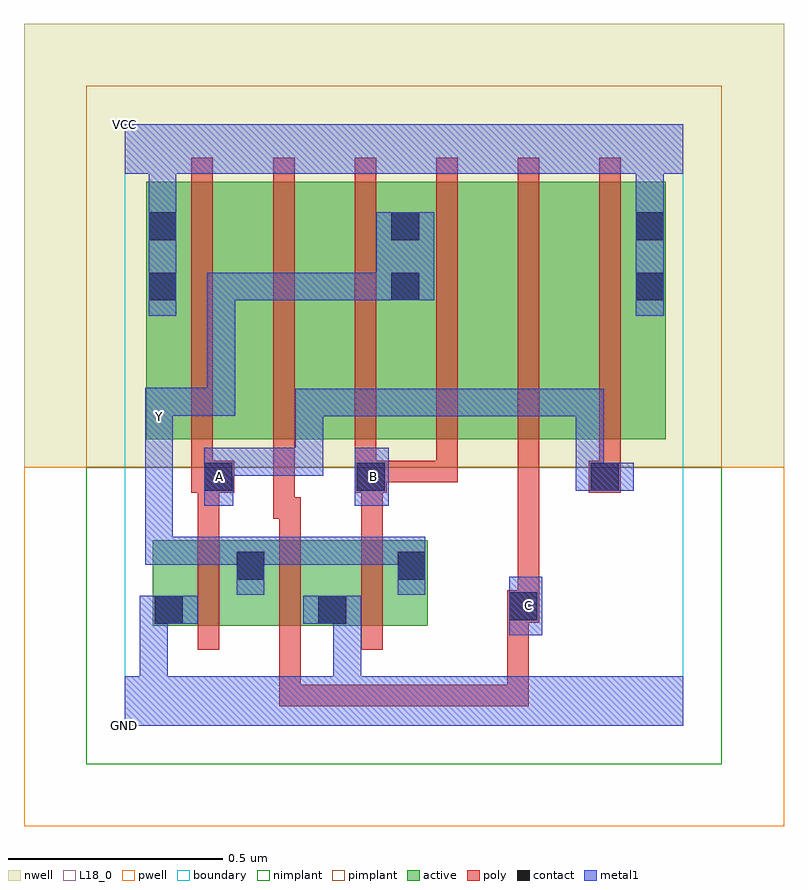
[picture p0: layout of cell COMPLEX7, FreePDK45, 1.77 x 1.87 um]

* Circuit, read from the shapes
.subckt COMPLEX7 A B C GND VCC Y
M1 Y A GND VSUBS nfet w=0.2u l=0.05u
M2 GND C Y VSUBS nfet w=0.2u l=0.05u
M3 Y B GND VSUBS nfet w=0.2u l=0.05u
M4 n1 A VCC n2 pfet w=0.6u l=0.05u
M5 n3 C n1 n2 pfet w=0.6u l=0.05u
M6 Y B n3 n2 pfet w=0.6u l=0.05u
M7 n4 B Y n2 pfet w=0.6u l=0.05u
M8 n5 C n4 n2 pfet w=0.6u l=0.05u
M9 VCC A n5 n2 pfet w=0.6u l=0.05u
.ends

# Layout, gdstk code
import gdstk
lib = gdstk.Library(unit=1e-6, precision=1e-09)
def R(c, l, rs):  # rectangles x0, y0, x1, y1
    for r in rs: c.add(gdstk.rectangle(r[:2], r[2:], *l))
def A(c, l, x, y, w, h, nx, ny, dx, dy):  # array of equal rectangles
    R(c, l, [(x+i*dx, y+j*dy, x+i*dx+w, y+j*dy+h) for i in range(nx) for j in range(ny)])
active = (1, 0)
pwell = (2, 0)
nwell = (3, 0)
nimplant = (4, 0)
pimplant = (5, 0)
poly = (9, 0)
contact = (10, 0)
metal1 = (11, 0)
L18_0 = (18, 0)
boundary = (235, 0)

complex7 = lib.new_cell('COMPLEX7')
R(complex7, active, [(0.065,0.232,0.33,0.432), (0.065,0.232,0.14,0.432), (0.255,0.232,0.52,0.432), (0.255,0.232,0.33,0.41), (0.445,0.232,0.705,0.432), (0.445,0.232,0.52,0.397), (0.63,0.332,0.705,0.432), (0.05,0.667,0.125,1.267), (0.05,0.667,0.275,1.267), (0.275,0.667,0.465,1.267), (0.465,0.667,0.69,1.267), (0.615,0.667,0.845,1.267), (0.845,0.667,1.035,1.267), (1.035,0.667,1.26,1.267), (1.185,0.667,1.26,1.267), (0.615,0.707,0.69,1.2)])
R(complex7, pwell, [(-0.235,-0.235,1.535,0.602)])
R(complex7, nwell, [(-0.235,0.602,1.535,1.635)])
R(complex7, nimplant, [(-0.09,-0.09,1.39,0.602)])
R(complex7, pimplant, [(-0.09,0.602,1.39,1.49)])
A(complex7, poly, 0.17, 0.177, 0.05, 0.31, 3, 1, 0.19, 0)
A(complex7, poly, 0.155, 0.612, 0.05, 0.71, 6, 1, 0.19, 0)
R(complex7, poly, [(0.36,0.045,0.41,0.095), (0.36,0.045,0.477,0.095), (0.36,0.045,0.41,0.227), (0.427,0.045,0.477,0.095), (0.427,0.045,0.61,0.095), (0.56,0.045,0.61,0.095), (0.56,0.045,0.61,0.095), (0.56,0.045,0.61,0.095), (0.56,0.045,0.742,0.095), (0.692,0.045,0.742,0.095), (0.692,0.045,0.94,0.095), (0.89,0.045,0.94,0.095), (0.89,0.045,0.94,0.095), (0.89,0.045,0.94,0.095), (0.89,0.045,0.94,0.095), (0.89,0.045,0.94,0.095), (0.89,0.045,0.94,0.29), (0.89,0.24,0.965,0.315), (0.89,0.24,0.94,0.29), (0.89,0.24,0.94,0.29), (0.915,0.265,0.965,0.662), (0.17,0.437,0.22,0.592), (0.36,0.437,0.41,0.532), (0.55,0.437,0.6,0.592), (0.345,0.482,0.395,0.662), (0.345,0.482,0.41,0.532), (0.155,0.542,0.255,0.617), (0.535,0.542,0.61,0.617), (1.08,0.542,1.155,0.617), (0.155,0.567,0.205,0.662), (0.535,0.567,0.585,0.662), (0.56,0.567,0.61,0.617), (0.56,0.567,0.61,0.617), (0.56,0.567,0.775,0.617), (0.725,0.567,0.775,0.662), (0.725,0.567,0.775,0.617), (1.105,0.567,1.155,0.662)])
R(complex7, contact, [(0.07,0.237,0.135,0.302), (0.45,0.237,0.515,0.302), (0.895,0.245,0.96,0.31), (0.26,0.34,0.325,0.405), (0.635,0.34,0.7,0.405), (0.185,0.547,0.25,0.612), (0.54,0.547,0.605,0.612), (1.085,0.547,1.15,0.612), (0.055,0.99,0.12,1.055), (0.62,0.99,0.685,1.055), (1.19,0.99,1.255,1.055), (0.055,1.13,0.12,1.195), (0.62,1.13,0.685,1.195), (1.19,1.13,1.255,1.195)])
R(complex7, metal1, [(0,0,1.3,0.115), (0.035,0.05,0.1,0.115), (0.035,0.05,0.1,0.115), (0.035,0.05,0.1,0.302), (0.485,0.05,0.55,0.115), (0.485,0.05,0.55,0.115), (0.485,0.05,0.55,0.115), (0.485,0.05,0.55,0.115), (0.485,0.05,0.55,0.302), (0.895,0.21,0.972,0.347), (0.035,0.237,0.1,0.302), (0.035,0.237,0.1,0.302), (0.035,0.237,0.17,0.302), (0.415,0.237,0.55,0.302), (0.26,0.305,0.325,0.44), (0.635,0.305,0.7,0.44), (0.047,0.375,0.112,0.44), (0.047,0.375,0.112,0.44), (0.047,0.375,0.112,0.44), (0.047,0.375,0.325,0.44), (0.047,0.375,0.112,0.717), (0.26,0.375,0.462,0.44), (0.397,0.375,0.462,0.44), (0.397,0.375,0.462,0.44), (0.397,0.375,0.462,0.44), (0.397,0.375,0.687,0.44), (0.622,0.375,0.7,0.44), (0.635,0.375,0.7,0.44), (0.185,0.512,0.252,0.647), (0.535,0.512,0.615,0.647), (1.05,0.547,1.115,0.612), (1.05,0.547,1.115,0.612), (1.05,0.547,1.185,0.612), (1.05,0.547,1.115,0.785), (0.187,0.582,0.252,0.647), (0.187,0.582,0.252,0.647), (0.187,0.582,0.462,0.647), (0.397,0.582,0.462,0.647), (0.397,0.582,0.462,0.647), (0.397,0.582,0.462,0.647), (0.397,0.582,0.462,0.785), (0.047,0.652,0.112,0.787), (0.397,0.72,0.462,0.785), (0.397,0.72,0.685,0.785), (0.62,0.72,0.685,0.785), (0.62,0.72,0.742,0.785), (0.677,0.72,0.742,0.785), (0.677,0.72,0.83,0.785), (0.765,0.72,0.83,0.785), (0.765,0.72,0.96,0.785), (0.895,0.72,0.96,0.785), (0.895,0.72,0.96,0.785), (0.895,0.72,0.96,0.785), (0.895,0.72,1.115,0.785), (1.05,0.72,1.115,0.785), (0.047,0.722,0.112,0.787), (0.047,0.722,0.112,0.787), (0.047,0.722,0.155,0.787), (0.09,0.722,0.155,0.787), (0.09,0.722,0.257,0.787), (0.192,0.722,0.257,0.787), (0.192,0.722,0.257,1.055), (0.055,0.955,0.12,1.23), (1.19,0.955,1.255,1.23), (0.192,0.99,0.257,1.055), (0.192,0.99,0.462,1.055), (0.397,0.99,0.462,1.055), (0.397,0.99,0.462,1.055), (0.397,0.99,0.462,1.055), (0.397,0.99,0.65,1.055), (0.585,0.99,0.65,1.055), (0.585,0.99,0.65,1.055), (0.585,0.99,0.72,1.195), (0.055,1.165,0.12,1.35), (1.19,1.165,1.255,1.35), (0,1.285,1.3,1.4)])
R(complex7, L18_0, [(0,0,1.3,0.115), (0.035,0.05,0.1,0.115), (0.035,0.05,0.1,0.115), (0.035,0.05,0.1,0.302), (0.485,0.05,0.55,0.115), (0.485,0.05,0.55,0.115), (0.485,0.05,0.55,0.115), (0.485,0.05,0.55,0.115), (0.485,0.05,0.55,0.302), (0.895,0.21,0.972,0.347), (0.035,0.237,0.1,0.302), (0.035,0.237,0.1,0.302), (0.035,0.237,0.17,0.302), (0.415,0.237,0.55,0.302), (0.907,0.247,0.972,0.312), (0.26,0.305,0.325,0.44), (0.635,0.305,0.7,0.44), (0.047,0.375,0.112,0.44), (0.047,0.375,0.112,0.44), (0.047,0.375,0.112,0.44), (0.047,0.375,0.112,0.717), (0.047,0.375,0.325,0.44), (0.26,0.375,0.462,0.44), (0.397,0.375,0.462,0.44), (0.397,0.375,0.462,0.44), (0.397,0.375,0.462,0.44), (0.397,0.375,0.687,0.44), (0.622,0.375,0.7,0.44), (0.635,0.375,0.7,0.44), (0.185,0.512,0.252,0.647), (0.535,0.512,0.615,0.647), (0.187,0.547,0.252,0.612), (0.547,0.547,0.612,0.612), (1.05,0.547,1.115,0.612), (1.05,0.547,1.115,0.612), (1.05,0.547,1.185,0.612), (1.05,0.547,1.115,0.785), (0.187,0.582,0.252,0.647), (0.187,0.582,0.252,0.647), (0.187,0.582,0.462,0.647), (0.397,0.582,0.462,0.647), (0.397,0.582,0.462,0.647), (0.397,0.582,0.462,0.647), (0.397,0.582,0.462,0.785), (0.047,0.652,0.112,0.787), (0.047,0.687,0.112,0.752), (0.397,0.72,0.462,0.785), (0.397,0.72,0.685,0.785), (0.62,0.72,0.685,0.785), (0.62,0.72,0.742,0.785), (0.677,0.72,0.742,0.785), (0.677,0.72,0.83,0.785), (0.765,0.72,0.83,0.785), (0.765,0.72,0.96,0.785), (0.895,0.72,0.96,0.785), (0.895,0.72,0.96,0.785), (0.895,0.72,0.96,0.785), (0.895,0.72,1.115,0.785), (1.05,0.72,1.115,0.785), (0.047,0.722,0.112,0.787), (0.047,0.722,0.112,0.787), (0.047,0.722,0.155,0.787), (0.09,0.722,0.155,0.787), (0.09,0.722,0.257,0.787), (0.192,0.722,0.257,0.787), (0.192,0.722,0.257,1.055), (0.055,0.955,0.12,1.23), (1.19,0.955,1.255,1.23), (0.192,0.99,0.257,1.055), (0.192,0.99,0.462,1.055), (0.397,0.99,0.462,1.055), (0.397,0.99,0.462,1.055), (0.397,0.99,0.462,1.055), (0.397,0.99,0.65,1.055), (0.585,0.99,0.65,1.055), (0.585,0.99,0.65,1.055), (0.585,0.99,0.72,1.195), (0.055,1.165,0.12,1.35), (1.19,1.165,1.255,1.35), (0,1.285,1.3,1.4)])
R(complex7, boundary, [(0,0,1.3,1.4)])
complex7.add(gdstk.Label('A', (0.22,0.58), layer=11, texttype=0))
complex7.add(gdstk.Label('B', (0.58,0.58), layer=11, texttype=0))
complex7.add(gdstk.Label('C', (0.94,0.28), layer=11, texttype=0))
complex7.add(gdstk.Label('Y', (0.08,0.72), layer=11, texttype=0))
complex7.add(gdstk.Label('VCC', (0,1.4), layer=11, texttype=0))
complex7.add(gdstk.Label('GND', (0,0), layer=11, texttype=0))

lib.write_gds('COMPLEX7.gds')
